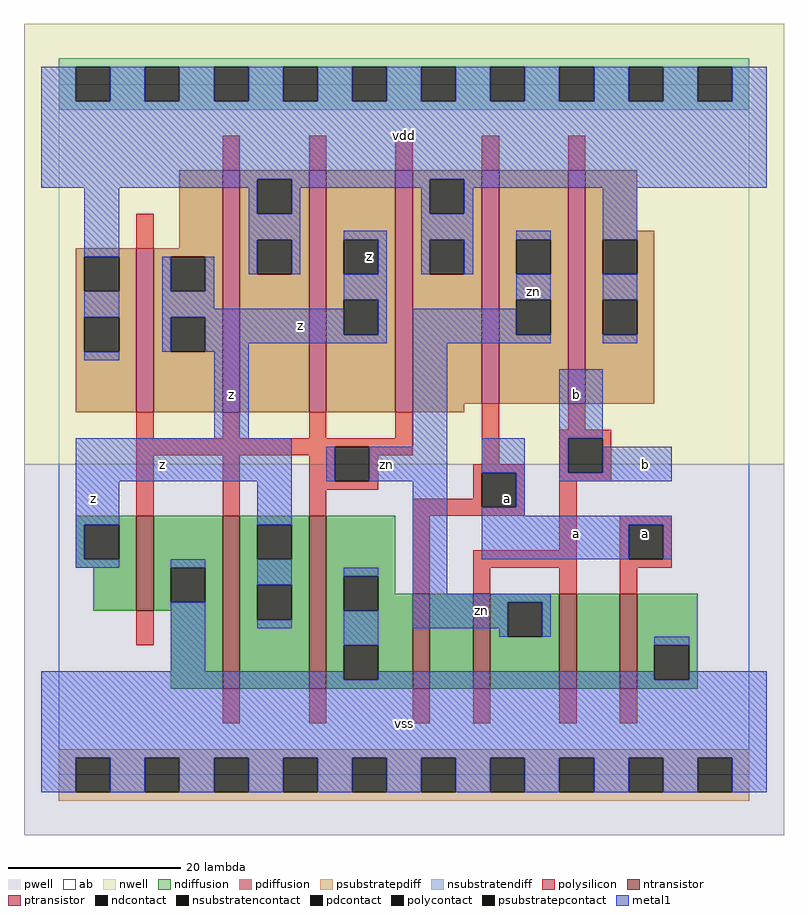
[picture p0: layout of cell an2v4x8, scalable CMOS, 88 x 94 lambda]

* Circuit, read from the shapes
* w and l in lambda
.subckt an2v4x8 a b vdd vss z zn
M1 vss zn z vss nfet w=11 l=2
M2 z zn vss vss nfet w=20 l=2 m=2
M3 n1 a vss vss nfet w=11 l=2
M4 zn b n1 vss nfet w=11 l=2
M5 n2 b zn vss nfet w=11 l=2
M6 vss a n2 vss nfet w=11 l=2
M7 z zn vdd vdd pfet w=19 l=2
M8 vdd zn z vdd pfet w=28 l=2 m=3
M9 zn a vdd vdd pfet w=27 l=2
M10 vdd b zn vdd pfet w=27 l=2
.ends

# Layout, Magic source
magic
tech scmos
<< ab >>
rect 0 0 80 80
<< pwell >>
rect -4 -7 84 36
<< nwell >>
rect -4 36 84 87
<< polysilicon >>
rect 19 70 21 74
rect 29 70 31 74
rect 39 70 41 74
rect 49 70 51 74
rect 59 70 61 74
rect 9 61 11 65
rect 9 39 11 42
rect 19 39 21 42
rect 29 39 31 42
rect 39 39 41 42
rect 9 38 41 39
rect 9 37 32 38
rect 9 30 11 37
rect 19 30 21 37
rect 29 34 32 37
rect 36 37 41 38
rect 36 34 37 37
rect 49 36 51 43
rect 59 40 61 43
rect 58 39 64 40
rect 29 33 37 34
rect 48 35 54 36
rect 29 30 31 33
rect 48 32 49 35
rect 41 31 49 32
rect 53 31 54 35
rect 41 30 54 31
rect 58 35 59 39
rect 63 35 64 39
rect 58 34 64 35
rect 9 15 11 19
rect 41 21 43 30
rect 58 26 60 34
rect 48 24 60 26
rect 48 21 50 24
rect 58 21 60 24
rect 65 29 71 30
rect 65 25 66 29
rect 70 25 71 29
rect 65 24 71 25
rect 65 21 67 24
rect 19 6 21 10
rect 29 6 31 10
rect 41 6 43 10
rect 48 6 50 10
rect 58 6 60 10
rect 65 6 67 10
<< ndiffusion >>
rect 2 29 9 30
rect 2 25 3 29
rect 7 25 9 29
rect 2 24 9 25
rect 4 19 9 24
rect 11 24 19 30
rect 11 20 13 24
rect 17 20 19 24
rect 11 19 19 20
rect 13 10 19 19
rect 21 29 29 30
rect 21 25 23 29
rect 27 25 29 29
rect 21 22 29 25
rect 21 18 23 22
rect 27 18 29 22
rect 21 10 29 18
rect 31 23 39 30
rect 31 19 33 23
rect 37 21 39 23
rect 37 19 41 21
rect 31 15 41 19
rect 31 11 33 15
rect 37 11 41 15
rect 31 10 41 11
rect 43 10 48 21
rect 50 20 58 21
rect 50 16 52 20
rect 56 16 58 20
rect 50 10 58 16
rect 60 10 65 21
rect 67 15 74 21
rect 67 11 69 15
rect 73 11 74 15
rect 67 10 74 11
<< pdiffusion >>
rect 14 61 19 70
rect 2 60 9 61
rect 2 56 3 60
rect 7 56 9 60
rect 2 53 9 56
rect 2 49 3 53
rect 7 49 9 53
rect 2 42 9 49
rect 11 60 19 61
rect 11 56 13 60
rect 17 56 19 60
rect 11 53 19 56
rect 11 49 13 53
rect 17 49 19 53
rect 11 42 19 49
rect 21 69 29 70
rect 21 65 23 69
rect 27 65 29 69
rect 21 62 29 65
rect 21 58 23 62
rect 27 58 29 62
rect 21 42 29 58
rect 31 62 39 70
rect 31 58 33 62
rect 37 58 39 62
rect 31 55 39 58
rect 31 51 33 55
rect 37 51 39 55
rect 31 42 39 51
rect 41 69 49 70
rect 41 65 43 69
rect 47 65 49 69
rect 41 62 49 65
rect 41 58 43 62
rect 47 58 49 62
rect 41 43 49 58
rect 51 62 59 70
rect 51 58 53 62
rect 57 58 59 62
rect 51 55 59 58
rect 51 51 53 55
rect 57 51 59 55
rect 51 43 59 51
rect 61 63 67 70
rect 61 62 69 63
rect 61 58 63 62
rect 67 58 69 62
rect 61 55 69 58
rect 61 51 63 55
rect 67 51 69 55
rect 61 43 69 51
rect 41 42 47 43
<< metal1 >>
rect -2 78 2 82
rect 6 78 10 82
rect 14 78 18 82
rect 22 78 26 82
rect 30 78 34 82
rect 38 78 42 82
rect 46 78 50 82
rect 54 78 58 82
rect 62 78 66 82
rect 70 78 74 82
rect 78 78 82 82
rect -2 69 82 78
rect -2 68 23 69
rect 3 60 7 68
rect 22 65 23 68
rect 27 68 43 69
rect 27 65 28 68
rect 22 62 28 65
rect 42 65 43 68
rect 47 68 82 69
rect 47 65 48 68
rect 3 53 7 56
rect 12 56 13 60
rect 17 56 18 60
rect 22 58 23 62
rect 27 58 28 62
rect 33 62 38 63
rect 37 58 38 62
rect 42 62 48 65
rect 42 58 43 62
rect 47 58 48 62
rect 53 62 57 63
rect 12 54 18 56
rect 33 55 38 58
rect 12 53 33 54
rect 12 49 13 53
rect 17 51 33 53
rect 37 51 38 55
rect 53 55 57 58
rect 17 50 38 51
rect 41 51 53 54
rect 41 50 57 51
rect 63 62 67 68
rect 63 55 67 58
rect 63 50 67 51
rect 17 49 22 50
rect 3 48 7 49
rect 18 39 22 49
rect 2 34 27 39
rect 41 38 45 50
rect 58 39 63 47
rect 31 34 32 38
rect 36 34 45 38
rect 2 29 7 34
rect 2 25 3 29
rect 23 29 27 34
rect 2 24 7 25
rect 13 24 17 25
rect 13 12 17 20
rect 23 22 27 25
rect 23 17 27 18
rect 33 23 37 24
rect 33 15 37 19
rect 41 21 45 34
rect 49 35 54 39
rect 53 31 54 35
rect 58 35 59 39
rect 63 35 71 38
rect 58 34 71 35
rect 49 30 54 31
rect 49 29 71 30
rect 49 25 66 29
rect 70 25 71 29
rect 41 20 57 21
rect 41 17 52 20
rect 51 16 52 17
rect 56 16 57 20
rect -2 11 33 12
rect 69 15 73 16
rect 37 11 69 12
rect 73 11 82 12
rect -2 2 82 11
rect -2 -2 2 2
rect 6 -2 10 2
rect 14 -2 18 2
rect 22 -2 26 2
rect 30 -2 34 2
rect 38 -2 42 2
rect 46 -2 50 2
rect 54 -2 58 2
rect 62 -2 66 2
rect 70 -2 74 2
rect 78 -2 82 2
<< ntransistor >>
rect 9 19 11 30
rect 19 10 21 30
rect 29 10 31 30
rect 41 10 43 21
rect 48 10 50 21
rect 58 10 60 21
rect 65 10 67 21
<< ptransistor >>
rect 9 42 11 61
rect 19 42 21 70
rect 29 42 31 70
rect 39 42 41 70
rect 49 43 51 70
rect 59 43 61 70
<< polycontact >>
rect 32 34 36 38
rect 49 31 53 35
rect 59 35 63 39
rect 66 25 70 29
<< ndcontact >>
rect 3 25 7 29
rect 13 20 17 24
rect 23 25 27 29
rect 23 18 27 22
rect 33 19 37 23
rect 33 11 37 15
rect 52 16 56 20
rect 69 11 73 15
<< pdcontact >>
rect 3 56 7 60
rect 3 49 7 53
rect 13 56 17 60
rect 13 49 17 53
rect 23 65 27 69
rect 23 58 27 62
rect 33 58 37 62
rect 33 51 37 55
rect 43 65 47 69
rect 43 58 47 62
rect 53 58 57 62
rect 53 51 57 55
rect 63 58 67 62
rect 63 51 67 55
<< psubstratepcontact >>
rect 2 -2 6 2
rect 10 -2 14 2
rect 18 -2 22 2
rect 26 -2 30 2
rect 34 -2 38 2
rect 42 -2 46 2
rect 50 -2 54 2
rect 58 -2 62 2
rect 66 -2 70 2
rect 74 -2 78 2
<< nsubstratencontact >>
rect 2 78 6 82
rect 10 78 14 82
rect 18 78 22 82
rect 26 78 30 82
rect 34 78 38 82
rect 42 78 46 82
rect 50 78 54 82
rect 58 78 62 82
rect 66 78 70 82
rect 74 78 78 82
<< psubstratepdiff >>
rect 0 2 80 3
rect 0 -2 2 2
rect 6 -2 10 2
rect 14 -2 18 2
rect 22 -2 26 2
rect 30 -2 34 2
rect 38 -2 42 2
rect 46 -2 50 2
rect 54 -2 58 2
rect 62 -2 66 2
rect 70 -2 74 2
rect 78 -2 80 2
rect 0 -3 80 -2
<< nsubstratendiff >>
rect 0 82 80 83
rect 0 78 2 82
rect 6 78 10 82
rect 14 78 18 82
rect 22 78 26 82
rect 30 78 34 82
rect 38 78 42 82
rect 46 78 50 82
rect 54 78 58 82
rect 62 78 66 82
rect 70 78 74 82
rect 78 78 80 82
rect 0 77 80 78
<< labels >>
rlabel metal1 4 32 4 32 6 z
rlabel metal1 12 36 12 36 6 z
rlabel metal1 20 44 20 44 6 z
rlabel metal1 28 52 28 52 6 z
rlabel metal1 40 6 40 6 6 vss
rlabel metal1 38 36 38 36 6 zn
rlabel pdcontact 36 60 36 60 6 z
rlabel metal1 40 74 40 74 6 vdd
rlabel metal1 49 19 49 19 6 zn
rlabel metal1 60 28 60 28 6 a
rlabel polycontact 52 32 52 32 6 a
rlabel metal1 60 44 60 44 6 b
rlabel metal1 55 56 55 56 6 zn
rlabel polycontact 68 28 68 28 6 a
rlabel metal1 68 36 68 36 6 b
<< end >>
